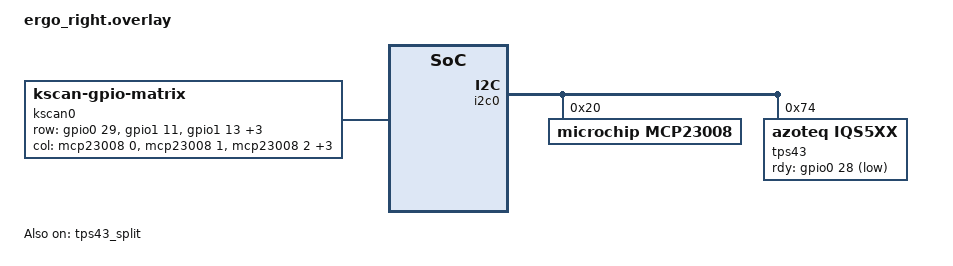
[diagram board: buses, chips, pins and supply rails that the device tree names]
/*
 * RIGHT half = split PERIPHERAL (dongle is the central now).
 * Occupies logical columns 5..10, so the shared transform is shifted by 5.
 *
 * The trackpad (tps43) is on THIS peripheral, so it must be relayed to the
 * dongle. We point the shared tps43_split (a zmk,input-split) at the real
 * device and attach the direction/scaler processors HERE (per ZMK's split-
 * pointing docs, processors go on the input-split on the peripheral). The
 * dongle enables the matching trackpad_listener.
 */

#include <zephyr/dt-bindings/gpio/gpio.h>
#include <zephyr/dt-bindings/pinctrl/nrf-pinctrl.h>
#include <zephyr/dt-bindings/input/input-event-codes.h>
#include <dt-bindings/zmk/input_transform.h>
#include <input/processors.dtsi>   /* zip_xy_scaler / zip_scroll_scaler */
#include "ergo.dtsi"

/* Shift this half into logical columns 5..10. */
&default_transform {
    col-offset = <5>;
};

&i2c0 {
    mcp23008: mcp23008@20 {
        compatible = "microchip,mcp23008";
        status = "okay";
        reg = <0x20>;
        gpio-controller;
        #gpio-cells = <2>;
    };

    tps43: tps43@74 {
        compatible = "azoteq,iqs5xx";
        status = "okay";
        reg = <0x74>;
        rdy-gpios = <&gpio0 28 (GPIO_ACTIVE_LOW | GPIO_PULL_UP)>;
        /* reset-gpios intentionally omitted: gpio0 2 is the encoder A pin
           (encoder is defined in the shared ergo.dtsi). The IQS5xx resets
           itself on power-up, so an explicit reset line isn't required. */

        /* ---- All gestures this driver supports ---- */
        one-finger-tap;              /* tap            -> left click  */
        two-finger-tap;              /* two-finger tap -> right click */
        press-and-hold;              /* hold + move    -> click & drag */
        press-and-hold-time = <100>; /* +ms over tap time to engage drag */
        scroll;                      /* two-finger vertical + horizontal scroll */

        /* ---- Feel tuning (not raw speed - that's the scaler below) ---- */
        stationary-threshold = <5>;  /* px a finger must move to count; raise to kill jitter */
        bottom-beta = <5>;           /* 0 = smoothest/laggiest ... 255 = snappiest/jitteriest */
    };
};

/*
 * Point the shared input-split at the real trackpad, and attach the
 * direction + sensitivity processors here. These run on the PERIPHERAL before
 * the event is relayed, so the central receives already-corrected events.
 *
 * DIRECTION flags (same meaning as before):
 *   INPUT_TRANSFORM_XY_SWAP  = swap X/Y (up<->right)
 *   INPUT_TRANSFORM_X_INVERT = flip left/right
 *   INPUT_TRANSFORM_Y_INVERT = flip up/down
 * SENSITIVITY: scalers are <multiplier divisor>; 1 1 = 1.0x.
 */
&tps43_split {
    status = "okay";
    device = <&tps43>;
    input-processors =
        <&trackpad_transform (INPUT_TRANSFORM_X_INVERT)>,
        <&zip_xy_scaler 1 1>,
        <&trackpad_scroll_transform 0>,
        <&zip_scroll_scaler 1 1>;
};

/ {
    chosen {
        zmk,kscan = &kscan0;
    };

    kscan0: kscan {
        compatible = "zmk,kscan-gpio-matrix";
        diode-direction = "col2row";
        wakeup-source;

        row-gpios
            = <&gpio0 29 (GPIO_ACTIVE_HIGH | GPIO_PULL_DOWN)> /* Row 0: D3 */
            , <&gpio1 11 (GPIO_ACTIVE_HIGH | GPIO_PULL_DOWN)> /* Row 1: D6 */
            , <&gpio1 13 (GPIO_ACTIVE_HIGH | GPIO_PULL_DOWN)> /* Row 2: D8 */
            , <&gpio1 14 (GPIO_ACTIVE_HIGH | GPIO_PULL_DOWN)> /* Row 3: D9 */
            , <&gpio1 15 (GPIO_ACTIVE_HIGH | GPIO_PULL_DOWN)> /* Row 4: D10 */
            , <&gpio1 12 (GPIO_ACTIVE_HIGH | GPIO_PULL_DOWN)> /* Row 5: D7 */
            ;

        col-gpios
            = <&mcp23008 0 GPIO_ACTIVE_HIGH>
            , <&mcp23008 1 GPIO_ACTIVE_HIGH>
            , <&mcp23008 2 GPIO_ACTIVE_HIGH>
            , <&mcp23008 3 GPIO_ACTIVE_HIGH>
            , <&mcp23008 4 GPIO_ACTIVE_HIGH>
            , <&mcp23008 5 GPIO_ACTIVE_HIGH>
            ;
    };
};
